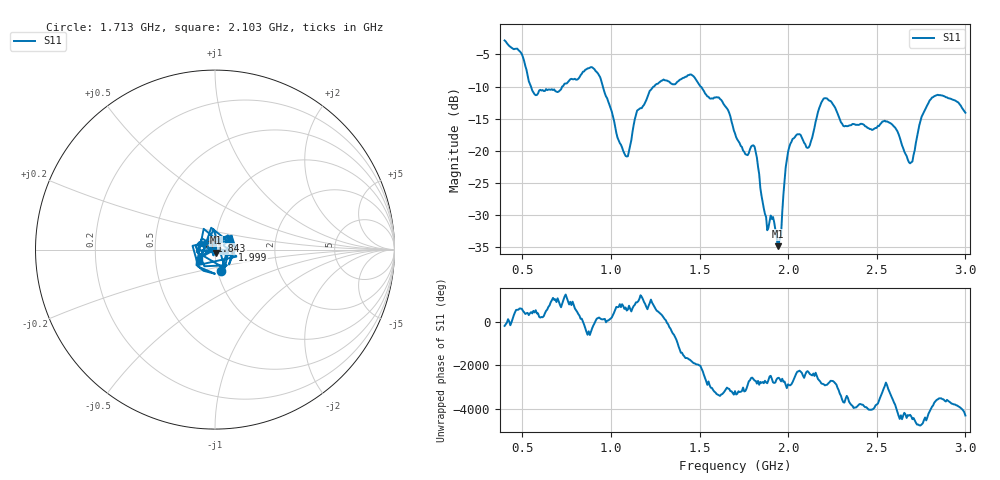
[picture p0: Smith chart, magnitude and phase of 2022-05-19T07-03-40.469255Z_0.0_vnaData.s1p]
!Created with skrf (http://scikit-rf.org).
# Hz S RI R 50.0
!freq ReS11 ImS11
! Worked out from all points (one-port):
!   401 points, 400 MHz to 3 GHz, reference 50 ohm
!   lowest |S11| = -34.9 dB at 1.94 GHz (marker M1), VSWR 1.04, Z = 50.5 - j1.74 ohm
!   |S11| at or under -10 dB: 548.7 MHz to 725 MHz (176.3 MHz wide, 27.7 % of centre); 954.2 MHz to 1.241 GHz (287.2 MHz wide, 26.2 % of centre); 1.506 GHz to end of sweep
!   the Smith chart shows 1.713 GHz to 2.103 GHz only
!   S11 on the Smith chart (normalised r, x): 1.713 GHz: 1.04, -0.25; 1.843 GHz: 0.96, +0.09; 1.999 GHz: 1.22, +0.00; 2.103 GHz: 0.83, -0.09
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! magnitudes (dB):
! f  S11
! 400 MHz  -2.8
! 491 MHz  -4.7
! 569 MHz  -11.2
! 725 MHz  -10.0
! 907 MHz  -7.3
! 1.05 GHz  -18.8
! 1.095 GHz  -20.9
! 1.147 GHz  -13.8
! 1.232 GHz  -10.3
! 1.375 GHz  -9.2
! 1.453 GHz  -8.1
! 1.615 GHz  -11.9
! 1.7 GHz  -17.3
! 1.713 GHz  -18.2
! 1.81 GHz  -19.4
! 1.843 GHz  -25.8
! 1.875 GHz  -30.3
! 1.94 GHz  -34.9
! 1.954 GHz  -33.6
! 1.999 GHz  -20.2
! 2.025 GHz  -18.2
! 2.103 GHz  -19.5
! 2.207 GHz  -11.8
! 2.35 GHz  -16.0
! 2.571 GHz  -15.6
! 2.675 GHz  -21.4
! 2.812 GHz  -11.7
! 3 GHz  -14.1
